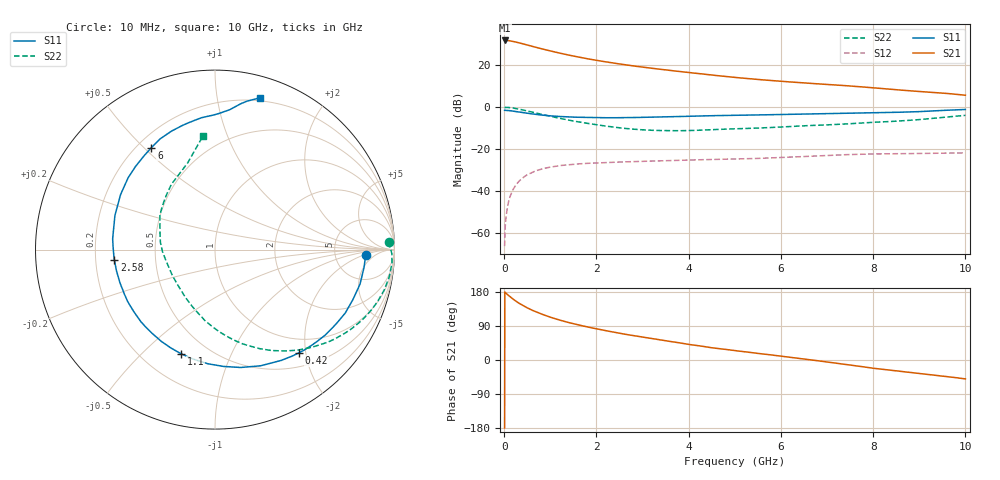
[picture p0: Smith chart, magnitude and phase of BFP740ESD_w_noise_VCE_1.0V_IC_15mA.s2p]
! Infineon Technologies  Discrete & RF Semiconductors
! BFP740ESD
! VCE =  1.0 V,  IC =  15 mA
! Common Emitter S-Parameters:  Jan 2016
# GHz  S  MA  R  50
!  f  S11  S21  S12  S22
! GHz  MAG  ANG  MAG  ANG  MAG  ANG  MAG  ANG
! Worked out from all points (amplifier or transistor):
!   233 points, 10 MHz to 10 GHz, reference 50 ohm
!   highest |S21| = 31.7 dB at 10 MHz (marker M1)
!   |S21| within 3 dB of that: start of sweep to 643.8 MHz
!   unconditionally stable (mu >= 1): 4.682 GHz to 9.273 GHz
!   at 200 MHz: K = 0.12, MSG = 35.0 dB, |S12| = -38.9 dB
!   at 1.74 GHz: K = 0.51, MSG = 25.0 dB, |S12| = -26.8 dB
!   at 10 GHz: K = 0.81, MSG = 13.7 dB, |S12| = -21.7 dB
!   lowest NFmin = 0.69 dB at 450 MHz
!   S11 on the Smith chart (normalised r, x): 10 MHz: 11, -2; 420 MHz: 0.73, -1.87; 1.1 GHz: 0.36, -0.67; 2.58 GHz: 0.28, -0.05; 6 GHz: 0.26, +0.53; 10 GHz: 0.17, +1.32
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0.01  0.8416 -1.9  38.37 -179.4  0.0005 100.6  0.9686 2.5
0.02  0.8389 -2.8  38 178.4  0.0013 89.1  0.986 -1.4
0.05  0.8364 -6.8  38.1 174.9  0.0029 83.9  0.9888 -4.3
0.1  0.8306 -13.4  37.99 169.9  0.0059 82.7  0.9824 -9.0
0.2  0.8071 -26.0  36.39 160.1  0.0114 75.9  0.9513 -17.7
0.3  0.7768 -37.9  34.25 151.5  0.0164 69.9  0.9083 -25.6
0.42  0.7409 -50.9  31.6 142.9  0.0216 63.5  0.8514 -34.0
0.6  0.6954 -68.6  27.97 131.7  0.0281 55.3  0.7668 -45.2
0.7  0.6722 -77.7  26.18 126.5  0.0311 51.5  0.7234 -50.8
0.9  0.6373 -93.6  23.04 117.2  0.0358 44.8  0.644 -60.8
1.1  0.6111 -107.8  20.4 109.2  0.0393 39.5  0.5751 -69.7
1.4  0.5847 -125.9  17.22 98.8  0.043 33.3  0.492 -81.6
1.68  0.5718 -139.7  14.98 90.7  0.0454 29.1  0.434 -91.1
2.18  0.5606 -160.1  12.02 77.9  0.0485 23.5  0.3586 -106.9
2.58  0.5639 -174.0  10.31 68.9  0.0501 20.2  0.3163 -120.3
3.4  0.5836 163.7  7.891 52.8  0.0532 15.9  0.2784 -146.1
4.5  0.6281 140.4  5.793 32.3  0.0571 11.3  0.2929 -177.8
5.1  0.6433 132.3  4.972 23.4  0.0591 9.9  0.3084 170.9
6  0.6694 122.0  4.119 10.1  0.0635 8.0  0.3379 155.2
6.8  0.6964 112.6  3.579 -2.0  0.0696 4.5  0.3718 143.7
8.4  0.7496 90.7  2.649 -27.5  0.0781 -7.1  0.4583 117.2
10  0.8811 73.6  1.921 -49.9  0.082 -17.1  0.6386 95.9
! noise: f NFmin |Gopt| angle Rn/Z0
0.45  0.69  0.08  1  0.11
0.9  0.73  0.08  8  0.09
1.9  0.75  0.05  2  0.09
2.4  0.79  0.03  -61  0.11
5.5  0.95  0.27  -127  0.12
10  1.6  0.56  -87  0.52
